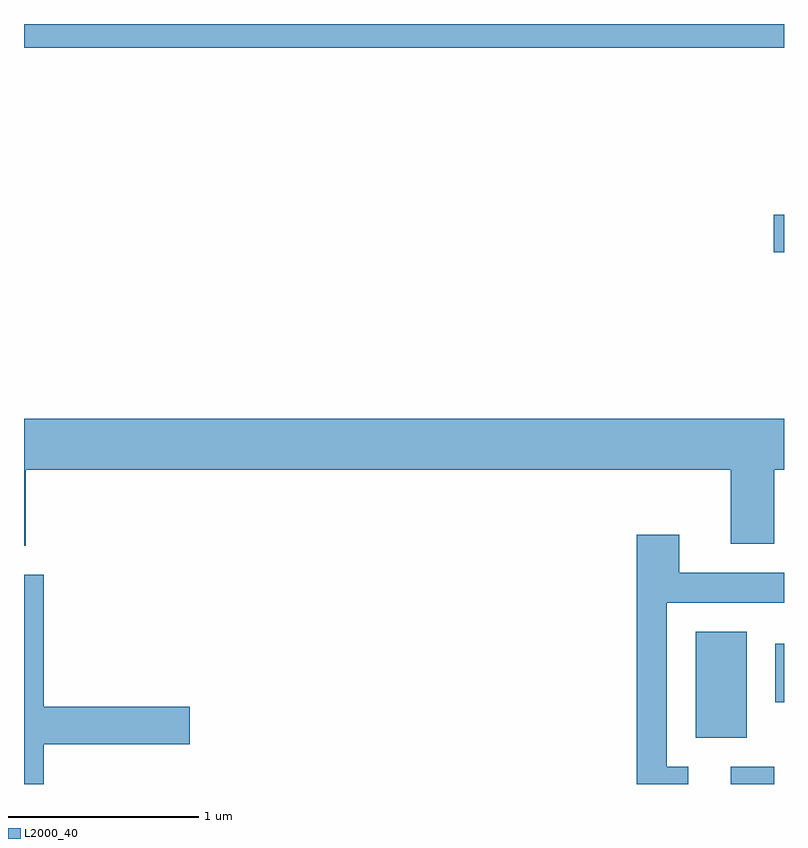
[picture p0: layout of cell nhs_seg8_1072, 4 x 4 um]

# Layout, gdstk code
import gdstk
lib = gdstk.Library(unit=1e-6, precision=1e-09)
def R(c, l, rs):  # rectangles x0, y0, x1, y1
    for r in rs: c.add(gdstk.rectangle(r[:2], r[2:], *l))
def P(c, l, *ps):  # polygons
    for p in ps: c.add(gdstk.Polygon(p, *l))
L2000_40 = (2000, 40)

nhs_seg8_1072 = lib.new_cell('nhs_seg8_1072')
R(nhs_seg8_1072, L2000_40, [(221.331,1810.342,221.559,1810.434), (221.146,1810.586,221.414,1811.144), (221.566,1810.771,221.611,1811.079), (221.556,1813.141,221.611,1813.339), (217.611,1814.216,221.611,1814.342)])
P(nhs_seg8_1072, L2000_40, [(217.619,1811.996),(221.331,1811.996),(221.331,1811.606),(221.559,1811.606),(221.559,1811.996),(221.611,1811.996),(221.611,1812.264),(217.611,1812.264),(217.611,1811.596),(217.619,1811.596)],
  [(221.108,1810.434),(220.994,1810.434),(220.994,1811.296),(221.611,1811.296),(221.611,1811.454),(221.059,1811.454),(221.059,1811.654),(220.836,1811.654),(220.836,1810.342),(221.108,1810.342)],
  [(217.714,1810.551),(218.484,1810.551),(218.484,1810.749),(217.714,1810.749),(217.714,1811.444),(217.611,1811.444),(217.611,1810.342),(217.714,1810.342)])

lib.write_gds('nhs_seg8_1072.gds')
